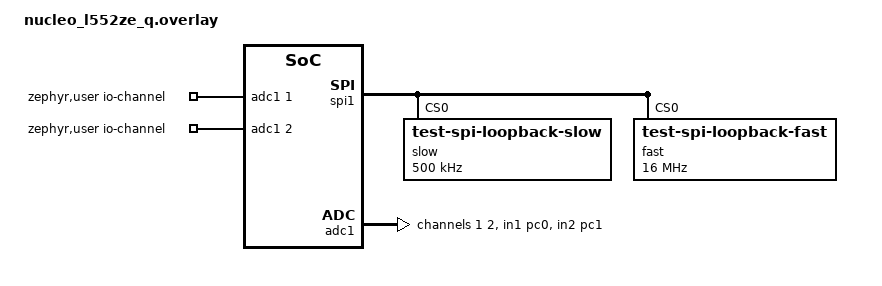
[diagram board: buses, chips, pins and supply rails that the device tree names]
/*
 * Copyright (c) 2021 STMicroelectronics
 *
 * SPDX-License-Identifier: Apache-2.0
 */

&dma1 {
	status = "okay";
};

&dma2 {
	status = "okay";
};

tst_dma0: &dmamux1 {
	status = "okay";
};

&spi1 {
	dmas = <&dmamux1 0 12 STM32_DMA_PERIPH_TX>,
	       <&dmamux1 7 11 STM32_DMA_PERIPH_RX>;
	dma-names = "tx", "rx";
	slow@0 {
		compatible = "test-spi-loopback-slow";
		reg = <0>;
		spi-max-frequency = <500000>;
	};
	fast@0 {
		compatible = "test-spi-loopback-fast";
		reg = <0>;
		spi-max-frequency = <16000000>;
	};
};

&dmamux1 {
	status = "okay";
};

/ {
	zephyr,user {
		io-channels = <&adc1 1>, <&adc1 2>;
	};
};

&adc1 {
	pinctrl-0 = <&adc1_in1_pc0 &adc1_in2_pc1>;
	#address-cells = <1>;
	#size-cells = <0>;
	channel@1 {
		reg = <1>;
		zephyr,gain = "ADC_GAIN_1";
		zephyr,reference = "ADC_REF_INTERNAL";
		zephyr,acquisition-time = <ADC_ACQ_TIME_MAX>;
		zephyr,resolution = <12>;
	};
	channel@2 {
		reg = <2>;
		zephyr,gain = "ADC_GAIN_1";
		zephyr,reference = "ADC_REF_INTERNAL";
		zephyr,acquisition-time = <ADC_ACQ_TIME_MAX>;
		zephyr,resolution = <12>;
	};
};

dut: &usart3 {
	dmas = <&dmamux1 5 30 STM32_DMA_PERIPH_TX>,
	       <&dmamux1 4 29 STM32_DMA_PERIPH_RX>;
	dma-names = "tx", "rx";
};
